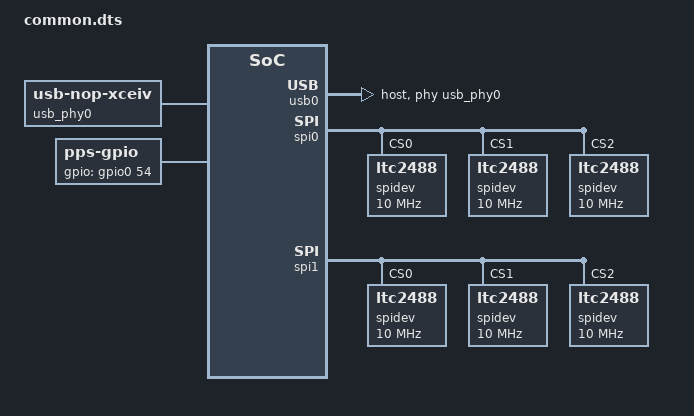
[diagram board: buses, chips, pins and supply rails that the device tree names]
/ {
  usb_phy0: phy0 {
    #phy-cells = <0>;
    compatible = "usb-nop-xceiv";
  };
  pps {
    compatible = "pps-gpio";
    gpios = <&gpio0 54 0>;
    capture-clear;
  };
};

&usb0 {
  dr_mode = "host";
  usb-phy = <&usb_phy0>;
};

&spi0 {
  spidev@0 {
    compatible = "ltc2488";
    reg = <0x0>;
    spi-max-frequency = <10000000>;
  };
  spidev@1 {
    compatible = "ltc2488";
    reg = <0x1>;
    spi-max-frequency = <10000000>;
  };
  spidev@2 {
    compatible = "ltc2488";
    reg = <0x2>;
    spi-max-frequency = <10000000>;
  };
};

&spi1 {
  spidev@0 {
    compatible = "ltc2488";
    reg = <0x0>;
    spi-max-frequency = <10000000>;
  };
  spidev@1 {
    compatible = "ltc2488";
    reg = <0x1>;
    spi-max-frequency = <10000000>;
  };
  spidev@2 {
    compatible = "ltc2488";
    reg = <0x2>;
    spi-max-frequency = <10000000>;
  };
};
